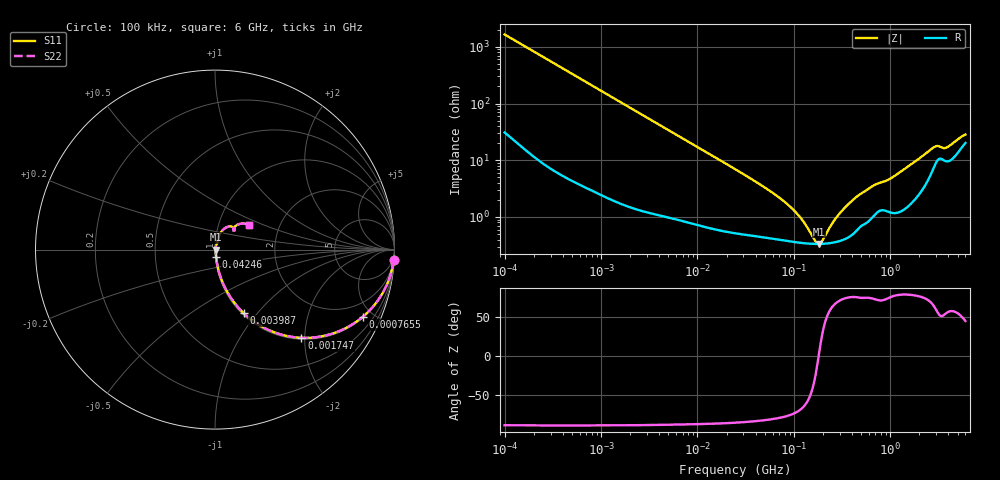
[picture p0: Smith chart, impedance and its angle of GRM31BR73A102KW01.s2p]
!Murata Part Number: GRM31BR73A102KW01
!These Parameters are Measured in Series Mode Connection
!Data Generated on Mar 30, 2021
!  o--ll--o
!Port1  Port2
!  o------o
!Operation Temp=25[degC], DC Bias Voltage=0[V]
!Freq. Start=100[kHz] Stop=6[GHz] 401[Steps]
# Hz S RI R 50
!Freq.(Hz) S11(Real) S11(Imag) S21(Real) S21(Imag) S12(Real) S12(Imag) S22(Real) S22(Imag)
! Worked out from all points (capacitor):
!   401 points, 100 kHz to 6 GHz, reference 50 ohm
!   read as one part in series: C = 962 pF near 105.7 kHz
!   lowest |Z| = 335 mohm at 182.4 MHz (marker M1)
!   series resonance near 180.6 MHz, so ESL is about 810 pH
!   S11 on the Smith chart (normalised r, x): 100 kHz: 2, -33; 765.5 kHz: 1.06, -4.37; 1.747 MHz: 1.03, -1.93; 3.987 MHz: 1.02, -0.85; 42.46 MHz: 1.01, -0.08; 6 GHz: 1.40, +0.40
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100000  0.9952 -0.0602  0.00478 0.0602  0.00478 0.0602  0.9952 -0.0602
261871  0.9739 -0.1531  0.0261 0.1531  0.0261 0.1531  0.9739 -0.1531
631452  0.8718 -0.3277  0.1282 0.3277  0.1282 0.3277  0.8718 -0.3277
765523  0.8235 -0.3744  0.1765 0.3744  0.1765 0.3744  0.8235 -0.3744
1747106  0.4815 -0.4914  0.5185 0.4914  0.5185 0.4914  0.4815 -0.4914
3987316  0.1589 -0.3532  0.8411 0.3532  0.8411 0.3532  0.1589 -0.3532
8151931  0.0488 -0.1975  0.9512 0.1975  0.9512 0.1975  0.0488 -0.1975
2.517799e7  0.00959 -0.0667  0.9904 0.0667  0.9904 0.0667  0.00959 -0.0667
4.246031e7  0.00599 -0.0387  0.994 0.0387  0.994 0.0387  0.00599 -0.0387
9.690463e7  0.00381 -0.0132  0.9962 0.0132  0.9962 0.0132  0.00381 -0.0132
1.241232e8  0.0035 -0.00772  0.9965 0.00772  0.9965 0.00772  0.0035 -0.00772
1.546735e8  0.00336 -0.00315  0.9966 0.00315  0.9966 0.00315  0.00336 -0.00315
1.679779e8  0.00334 -0.00147  0.9967 0.00147  0.9967 0.00147  0.00334 -0.00147
1.824266e8  0.00333 0.000212  0.9967 -0.000212  0.9967 -0.000212  0.00333 0.000212
1.981182e8  0.00335 0.0019  0.9966 -0.0019  0.9966 -0.0019  0.00335 0.0019
2.832789e8  0.00375 0.00964  0.9963 -0.00964  0.9963 -0.00964  0.00375 0.00964
3.940568e8  0.00503 0.0181  0.995 -0.0181  0.995 -0.0181  0.00503 0.0181
6.465106e8  0.0106 0.0325  0.9894 -0.0325  0.9894 -0.0325  0.0106 0.0325
9.76689e8  0.0139 0.0436  0.9861 -0.0436  0.9861 -0.0436  0.0139 0.0436
2.77767e9  0.0834 0.1296  0.9166 -0.1296  0.9166 -0.1296  0.0834 0.1296
3.759065e9  0.1013 0.1104  0.8987 -0.1104  0.8987 -0.1104  0.1013 0.1104
6e9  0.1898 0.1346  0.8102 -0.1346  0.8102 -0.1346  0.1898 0.1346
